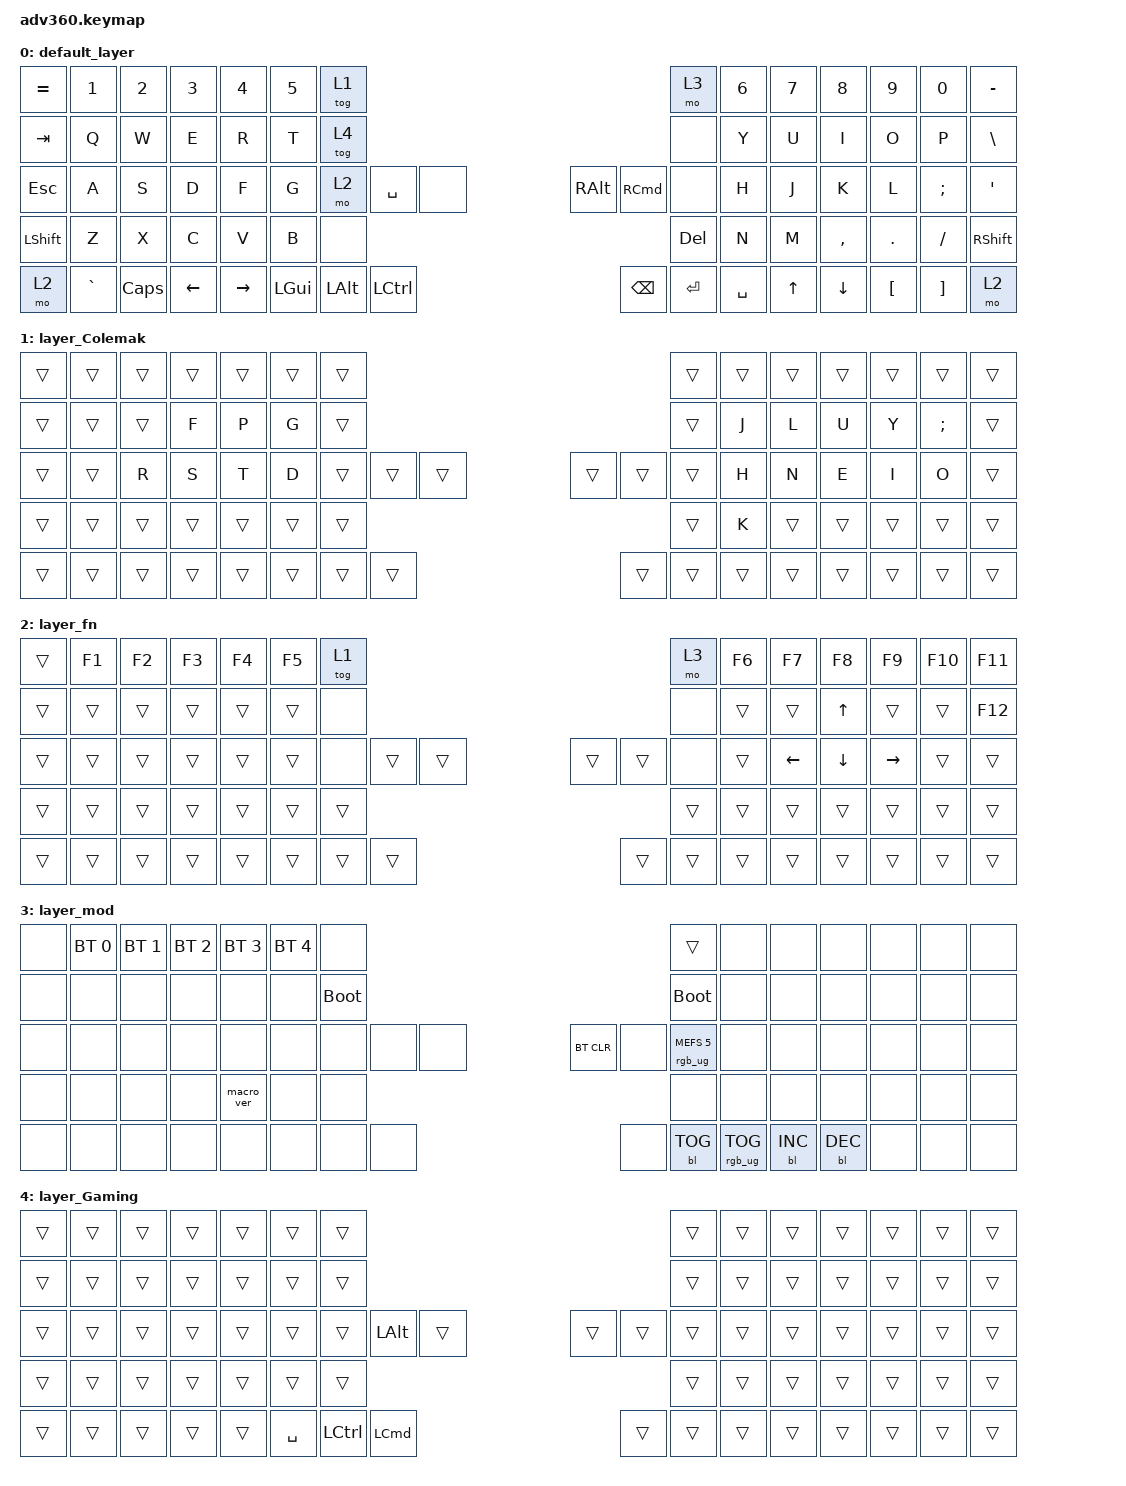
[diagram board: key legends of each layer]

/*
 * Copyright (c) 2020 The ZMK Contributors
 *
 * SPDX-License-Identifier: MIT
 */


/* THIS FILE WAS GENERATED!
 *
 * This file was generated automatically. You may or may not want to
 * edit it directly.
 */

#include <behaviors.dtsi>
#include <dt-bindings/zmk/keys.h>
#include <dt-bindings/zmk/bt.h>
#include <dt-bindings/zmk/rgb.h>
#include <dt-bindings/zmk/backlight.h>

/ {
  behaviors {
    #include "macros.dtsi"
    #include "version.dtsi"

    hm: homerow_mods {
        compatible = "zmk,behavior-hold-tap";
        label = "HOMEROW_MODS";
        #binding-cells = <2>;
        tapping-term-ms = <200>;
        quick_tap_ms = <175>;
        flavor = "tap-preferred";
        bindings = <&kp>, <&kp>;
    };
  };

    keymap {
        compatible = "zmk,keymap";


        default_layer {
            bindings = <
 &kp EQUAL     &kp N1    &kp N2    &kp N3     &kp N4  &kp N5              &tog 1                                                                   &mo 3  &kp N6  &kp N7     &kp N8    &kp N9    &kp N0  &kp MINUS
   &kp TAB      &kp Q     &kp W     &kp E      &kp R   &kp T              &tog 4                                                                   &none   &kp Y   &kp U      &kp I     &kp O     &kp P   &kp BSLH
   &kp ESC      &kp A     &kp S     &kp D      &kp F   &kp G               &mo 2  &kp SPACE      &none                    &kp RALT   &kp RCMD      &none   &kp H   &kp J      &kp K     &kp L  &kp SEMI    &kp SQT
 &kp LSHFT      &kp Z     &kp X     &kp C      &kp V   &kp B                                     &none                  &kp DELETE                         &kp N   &kp M  &kp COMMA   &kp DOT  &kp FSLH  &kp RSHFT
     &mo 2  &kp GRAVE  &kp CAPS  &kp LEFT  &kp RIGHT                    &kp LGUI   &kp LALT  &kp LCTRL                    &kp BSPC  &kp ENTER  &kp SPACE          &kp UP   &kp DOWN  &kp LBKT  &kp RBKT      &mo 2
            >;
        };

        layer_Colemak {
            bindings = <
 &trans  &trans  &trans  &trans  &trans  &trans            &trans                                                  &trans  &trans  &trans  &trans  &trans         &trans  &trans
 &trans  &trans  &trans   &kp F   &kp P   &kp G            &trans                                                  &trans   &kp J   &kp L   &kp U   &kp Y  &kp SEMICOLON  &trans
 &trans  &trans   &kp R   &kp S   &kp T   &kp D            &trans  &trans  &trans                  &trans  &trans  &trans   &kp H   &kp N   &kp E   &kp I          &kp O  &trans
 &trans  &trans  &trans  &trans  &trans  &trans                            &trans                  &trans                   &kp K  &trans  &trans  &trans         &trans  &trans
 &trans  &trans  &trans  &trans  &trans                    &trans  &trans  &trans                  &trans  &trans  &trans          &trans  &trans  &trans         &trans  &trans
            >;
        };

        layer_fn {
            bindings = <
 &trans  &kp F1  &kp F2  &kp F3  &kp F4  &kp F5            &tog 1                                                   &mo 3  &kp F6    &kp F7    &kp F8     &kp F9  &kp F10  &kp F11
 &trans  &trans  &trans  &trans  &trans  &trans             &none                                                   &none  &trans    &trans    &kp UP     &trans   &trans  &kp F12
 &trans  &trans  &trans  &trans  &trans  &trans             &none  &trans  &trans                  &trans  &trans   &none  &trans  &kp LEFT  &kp DOWN  &kp RIGHT   &trans   &trans
 &trans  &trans  &trans  &trans  &trans  &trans                            &trans                  &trans                  &trans    &trans    &trans     &trans   &trans   &trans
 &trans  &trans  &trans  &trans  &trans                    &trans  &trans  &trans                  &trans  &trans  &trans            &trans    &trans     &trans   &trans   &trans
            >;
        };

        layer_mod {
            bindings = <
  &none  &bt BT_SEL 0  &bt BT_SEL 1  &bt BT_SEL 2  &bt BT_SEL 3  &bt BT_SEL 4                  &none                                                                          &trans   &none       &none       &none   &none   &none   &none
  &none         &none         &none         &none         &none         &none            &bootloader                                                                     &bootloader   &none       &none       &none   &none   &none   &none
  &none         &none         &none         &none         &none         &none                  &none   &none   &none                  &bt BT_CLR       &none  &rgb_ug RGB_MEFS_CMD 5   &none       &none       &none   &none   &none   &none
  &none         &none         &none         &none    &macro_ver         &none                                  &none                       &none                                       &none       &none       &none   &none   &none   &none
  &none         &none         &none         &none         &none                                &none   &none   &none                       &none  &bl BL_TOG         &rgb_ug RGB_TOG          &bl BL_INC  &bl BL_DEC   &none   &none   &none
            >;
        };

        layer_Gaming {
            bindings = <
 &trans  &trans  &trans  &trans  &trans  &trans               &trans                                                          &trans  &trans  &trans  &trans  &trans  &trans  &trans
 &trans  &trans  &trans  &trans  &trans  &trans               &trans                                                          &trans  &trans  &trans  &trans  &trans  &trans  &trans
 &trans  &trans  &trans  &trans  &trans  &trans               &trans  &kp LEFT_ALT    &trans                  &trans  &trans  &trans  &trans  &trans  &trans  &trans  &trans  &trans
 &trans  &trans  &trans  &trans  &trans  &trans                                       &trans                  &trans                  &trans  &trans  &trans  &trans  &trans  &trans
 &trans  &trans  &trans  &trans  &trans                    &kp SPACE     &kp LCTRL  &kp LCMD                  &trans  &trans  &trans          &trans  &trans  &trans  &trans  &trans
            >;
        };

    };
};
